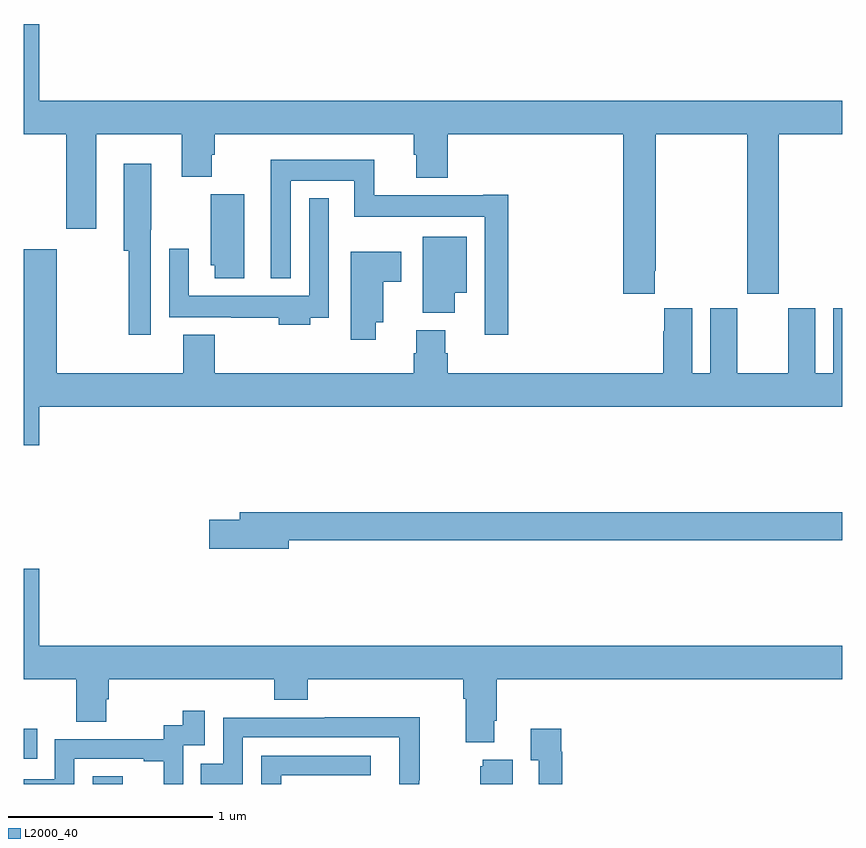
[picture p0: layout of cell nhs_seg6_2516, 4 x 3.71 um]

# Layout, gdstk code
import gdstk
lib = gdstk.Library(unit=1e-6, precision=1e-09)
def R(c, l, rs):  # rectangles x0, y0, x1, y1
    for r in rs: c.add(gdstk.rectangle(r[:2], r[2:], *l))
def P(c, l, *ps):  # polygons
    for p in ps: c.add(gdstk.Polygon(p, *l))
L2000_40 = (2000, 40)

nhs_seg6_2516 = lib.new_cell('nhs_seg6_2516')
R(nhs_seg6_2516, L2000_40, [(261.336,937.5,261.484,937.537), (261,937.623,261.065,937.771)])
P(nhs_seg6_2516, L2000_40, [(264.085,940.009),(264.09,940.009),(264.09,940.676),(264.535,940.676),(264.535,939.897),(264.69,939.897),(264.69,940.676),(265,940.676),(265,940.84),(261.076,940.84),(261.076,941.215),(261,941.215),(261,940.676),(261.208,940.676),(261.208,940.215),(261.355,940.215),(261.355,940.676),(261.772,940.676),(261.772,940.468),(261.919,940.468),(261.919,940.577),(261.932,940.577),(261.932,940.676),(262.907,940.676),(262.907,940.575),(262.919,940.575),(262.919,940.463),(263.072,940.463),(263.072,940.676),(263.93,940.676),(263.93,939.897),(264.085,939.897)],
  [(263.369,940.381),(263.246,940.381),(263.246,940.378),(262.712,940.378),(262.712,940.552),(262.208,940.552),(262.208,939.971),(262.305,939.971),(262.305,940.448),(262.614,940.448),(262.614,940.274),(263.253,940.274),(263.253,939.696),(263.369,939.696)],
  [(261.621,940.21),(261.622,940.21),(261.622,940.531),(261.488,940.531),(261.488,940.106),(261.513,940.106),(261.513,939.696),(261.621,939.696)],
  [(262.078,940.383),(261.914,940.383),(261.914,940.035),(261.932,940.035),(261.932,939.972),(262.078,939.972)],
  [(262.399,939.78),(262.491,939.78),(262.491,940.363),(262.395,940.363),(262.395,939.886),(261.807,939.886),(261.807,940.117),(261.711,940.117),(261.711,939.782),(262.015,939.782),(262.015,939.78),(262.247,939.78),(262.247,939.746),(262.399,939.746)],
  [(263.107,939.902),(263.164,939.902),(263.164,940.174),(262.949,940.174),(262.949,939.803),(263.107,939.803)],
  [(261.076,939.344),(265,939.344),(265,939.826),(264.956,939.826),(264.956,939.508),(264.868,939.508),(264.868,939.826),(264.737,939.826),(264.737,939.508),(264.487,939.508),(264.487,939.826),(264.356,939.826),(264.356,939.508),(264.268,939.508),(264.268,939.826),(264.131,939.826),(264.131,939.713),(264.125,939.713),(264.125,939.508),(263.072,939.508),(263.072,939.606),(263.059,939.606),(263.059,939.718),(262.919,939.718),(262.919,939.606),(262.907,939.606),(262.907,939.508),(261.932,939.508),(261.932,939.697),(261.779,939.697),(261.779,939.508),(261.16,939.508),(261.16,940.114),(261,940.114),(261,939.156),(261.076,939.156)],
  [(262.72,939.758),(262.756,939.758),(262.756,939.955),(262.846,939.955),(262.846,940.102),(262.598,940.102),(262.598,939.672),(262.72,939.672)],
  [(262.294,938.692),(265,938.692),(265,938.828),(262.055,938.828),(262.055,938.792),(261.906,938.792),(261.906,938.65),(262.294,938.65)],
  [(261.076,938.551),(261,938.551),(261,938.012),(261.256,938.012),(261.256,937.804),(261.403,937.804),(261.403,937.914),(261.416,937.914),(261.416,938.012),(262.223,938.012),(262.223,937.913),(262.388,937.913),(262.388,938.012),(263.147,938.012),(263.147,937.916),(263.159,937.916),(263.159,937.703),(263.299,937.703),(263.299,937.81),(263.312,937.81),(263.312,938.012),(265,938.012),(265,938.176),(261.076,938.176)],
  [(261.246,937.623),(261.587,937.623),(261.587,937.611),(261.683,937.611),(261.683,937.5),(261.78,937.5),(261.78,937.689),(261.885,937.689),(261.885,937.858),(261.777,937.858),(261.777,937.788),(261.684,937.788),(261.684,937.719),(261.15,937.719),(261.15,937.524),(261,937.524),(261,937.5),(261.246,937.5)],
  [(262.071,937.728),(262.835,937.728),(262.835,937.5),(262.932,937.5),(262.932,937.519),(262.935,937.519),(262.935,937.826),(262.471,937.826),(262.471,937.824),(261.975,937.824),(261.975,937.599),(261.865,937.599),(261.865,937.5),(262.071,937.5)],
  [(263.633,937.658),(263.626,937.658),(263.626,937.771),(263.477,937.771),(263.477,937.615),(263.517,937.615),(263.517,937.5),(263.633,937.5)],
  [(262.257,937.542),(262.696,937.542),(262.696,937.638),(262.161,937.638),(262.161,937.5),(262.257,937.5)],
  [(263.389,937.618),(263.243,937.618),(263.243,937.587),(263.231,937.587),(263.231,937.5),(263.389,937.5)])

lib.write_gds('nhs_seg6_2516.gds')
